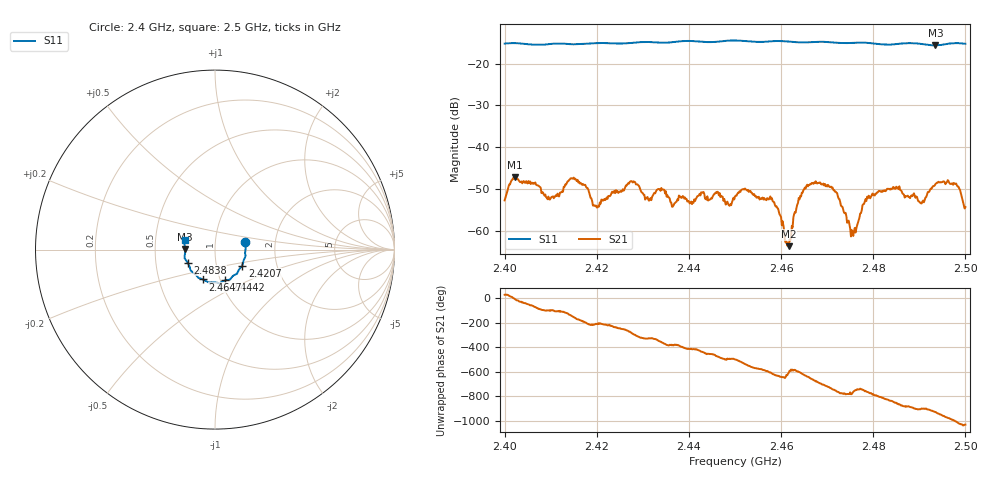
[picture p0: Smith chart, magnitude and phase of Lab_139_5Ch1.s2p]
# Hz S RI R 50
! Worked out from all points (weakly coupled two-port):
!   601 points, 2.4 GHz to 2.5 GHz, reference 50 ohm
!   highest |S21| = -47.23 dB at 2.4022 GHz (marker M1); lowest = -63.7 dB at 2.4617 GHz (marker M2)
!   lowest |S11| = -15.6 dB at 2.4935 GHz (marker M3), VSWR 1.40, Z = 35.8 + j0.137 ohm
!   |S11| at or under -10 dB: start of sweep to end of sweep
!   S12 and S22 are empty: the file has one direction only
!   S11 on the Smith chart (normalised r, x): 2.4 GHz: 1.40, +0.11; 2.4207 GHz: 1.33, -0.24; 2.4442 GHz: 1.05, -0.37; 2.4647 GHz: 0.83, -0.29; 2.4838 GHz: 0.73, -0.11; 2.5 GHz: 0.71, +0.08
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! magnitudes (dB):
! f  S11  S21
! 2.4 GHz  -15.2  -52.7
! 2.4022 GHz  -15.1  -47.2
! 2.4095 GHz  -15.3  -51.8
! 2.4167 GHz  -15.3  -48.8
! 2.4207 GHz  -15.1  -53.2
! 2.4277 GHz  -15.0  -48.2
! 2.4333 GHz  -15.0  -50.0
! 2.4442 GHz  -14.9  -52.7
! 2.45 GHz  -14.5  -51.8
! 2.458 GHz  -14.7  -52.2
! 2.4617 GHz  -14.7  -63.7
! 2.4647 GHz  -14.9  -50.9
! 2.4667 GHz  -14.9  -48.5
! 2.4717 GHz  -15.0  -50.6
! 2.4757 GHz  -15.0  -61.2
! 2.4787 GHz  -15.0  -51.8
! 2.4833 GHz  -15.5  -50.0
! 2.4838 GHz  -15.4  -49.9
! 2.4905 GHz  -15.3  -53.4
! 2.4935 GHz  -15.6  -48.8
! 2.498 GHz  -15.1  -48.7
! 2.5 GHz  -15.3  -54.3
